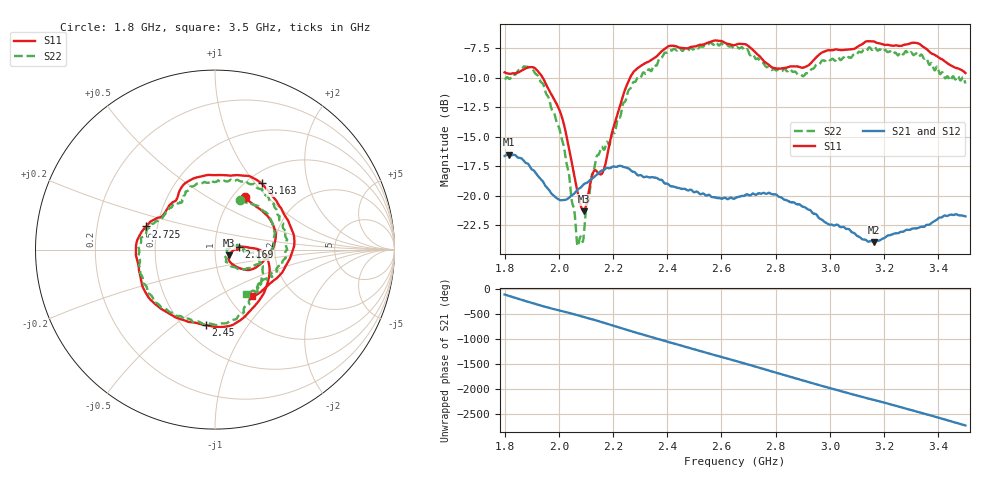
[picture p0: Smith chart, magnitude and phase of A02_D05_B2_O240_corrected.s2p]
! Created with skrf 1.9.0 (http://scikit-rf.org).
# Hz S RI R 50.0
!freq ReS11 ImS11 ReS21 ImS21 ReS12 ImS12 ReS22 ImS22
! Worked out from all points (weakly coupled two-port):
!   1601 points, 1.8 GHz to 3.5 GHz, reference 50 ohm
!   highest |S21| = -16.50 dB at 1.815 GHz (marker M1); lowest = -23.9 dB at 3.162 GHz (marker M2)
!   lowest |S11| = -21.3 dB at 2.091 GHz (marker M3), VSWR 1.19, Z = 58.5 - j3.83 ohm
!   |S11| at or under -10 dB: 1.941 GHz to 2.262 GHz (320.9 MHz wide, 15.3 % of centre)
!   |S22| runs from -24.3 to -7.0 dB; largest |S21 - S12| = 0.0028
!   S11 on the Smith chart (normalised r, x): 1.8 GHz: 1.14, +0.74; 2.169 GHz: 1.30, +0.03; 2.45 GHz: 0.64, -0.66; 2.725 GHz: 0.43, +0.13; 3.163 GHz: 1.16, +1.08; 3.5 GHz: 1.27, -0.75
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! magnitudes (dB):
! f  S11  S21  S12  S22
! 1.8 GHz  -9.5  -16.6  -16.6  -10.1
! 1.815 GHz  -9.6  -16.5  -16.5  -10.0
! 1.881 GHz  -9.2  -17.2  -17.2  -9.1
! 1.942 GHz  -10.0  -18.8  -18.8  -10.5
! 2.013 GHz  -13.4  -20.4  -20.4  -15.3
! 2.068 GHz  -19.5  -19.5  -19.5  -24.1
! 2.084 GHz  -21.0  -19.2  -19.2  -23.6
! 2.091 GHz  -21.3  -19.0  -19.1  -23.6
! 2.129 GHz  -17.9  -18.4  -18.4  -17.8
! 2.169 GHz  -17.6  -17.8  -17.8  -16.1
! 2.261 GHz  -10.0  -17.7  -17.8  -10.9
! 2.367 GHz  -8.0  -18.6  -18.5  -8.5
! 2.45 GHz  -7.5  -19.4  -19.4  -7.6
! 2.65 GHz  -7.2  -20.2  -20.2  -7.5
! 2.725 GHz  -7.8  -19.9  -19.9  -8.4
! 2.799 GHz  -9.2  -19.9  -19.9  -9.3
! 2.934 GHz  -8.6  -21.4  -21.4  -9.2
! 3.162 GHz  -6.9  -23.9  -23.8  -7.4
! 3.163 GHz  -6.9  -23.9  -23.9  -7.4
! 3.217 GHz  -7.2  -23.3  -23.3  -7.8
! 3.325 GHz  -7.1  -22.7  -22.7  -8.1
! 3.5 GHz  -9.6  -21.7  -21.7  -10.5
